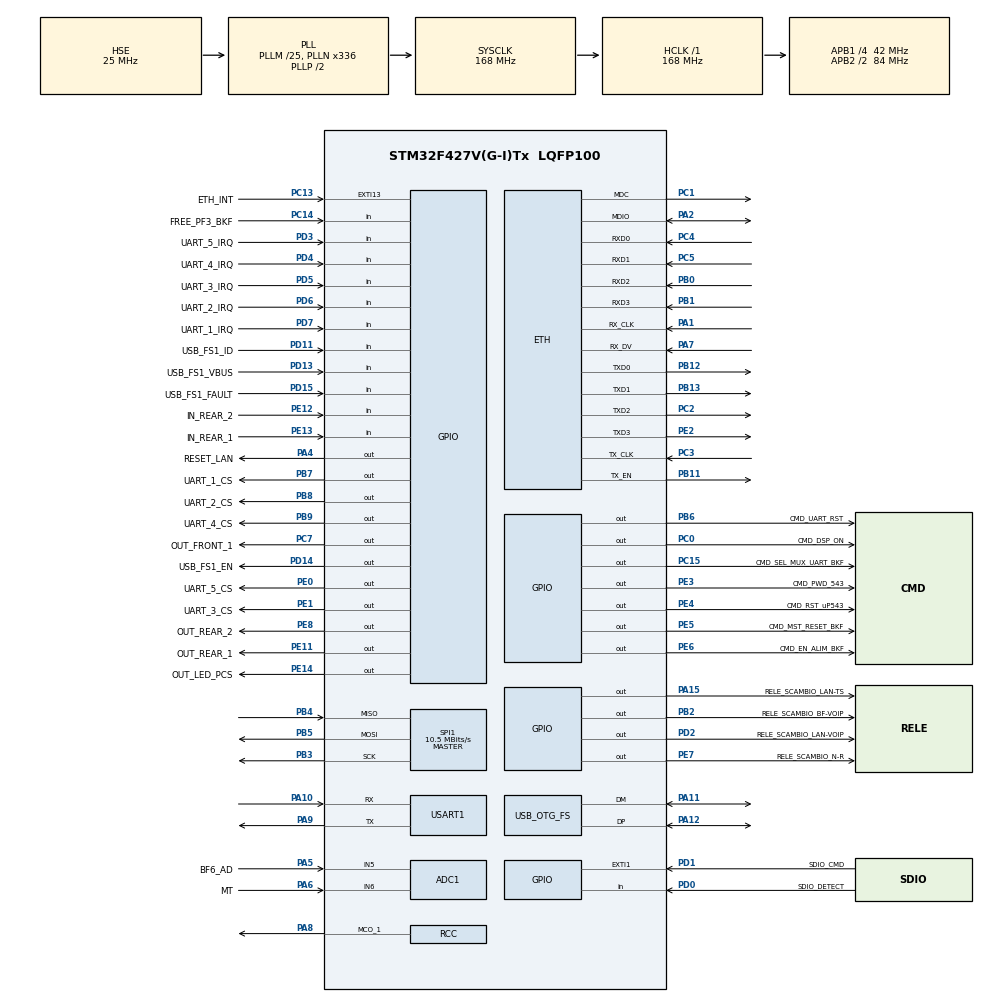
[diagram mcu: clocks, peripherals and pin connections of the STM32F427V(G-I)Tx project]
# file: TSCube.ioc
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ADC1.Channel-0\#ChannelRegularConversion=ADC_CHANNEL_5
ADC1.NbrOfConversionFlag=1
ADC1.Rank-0\#ChannelRegularConversion=1
ADC1.SamplingTime-0\#ChannelRegularConversion=ADC_SAMPLETIME_3CYCLES
ADC1.master=1
ETH.MediaInterface=HAL_ETH_MII_MODE
FREERTOS.Tasks01=defaultTask,24,128,StartDefaultTask,Default,NULL,Dynamic,NULL,NULL
IWDG.Prescaler=IWDG_PRESCALER_128
Mcu.Family=STM32F4
Mcu.Name=STM32F427V(G-I)Tx
Mcu.Package=LQFP100
NVIC.EXTI15_10_IRQn=true\:6\:0\:true\:false\:true\:true\:true\:true\:true
NVIC.HASH_RNG_IRQn=true\:5\:0\:false\:false\:true\:true\:true\:true\:true
NVIC.OTG_FS_IRQn=true\:5\:0\:false\:false\:true\:true\:false\:true\:true
NVIC.PriorityGroup=NVIC_PRIORITYGROUP_4
NVIC.TIM2_IRQn=true\:15\:0\:false\:false\:true\:false\:false\:true\:true
NVIC.TimeBase=TIM2_IRQn
NVIC.TimeBaseIP=TIM2
NVIC.USART1_IRQn=true\:5\:0\:true\:false\:true\:true\:true\:true\:true
PA0/WKUP.Signal=ETH_CRS
PA1.Mode=MII Full Duplex Only
PA1.Signal=ETH_RX_CLK
PA10.Mode=Asynchronous
PA10.Signal=USART1_RX
PA11.Mode=Device_Only
PA11.Signal=USB_OTG_FS_DM
PA12.Mode=Device_Only
PA12.Signal=USB_OTG_FS_DP
PA13.Mode=Serial_Wire
PA13.Signal=SYS_JTMS-SWDIO
PA14.Mode=Serial_Wire
PA14.Signal=SYS_JTCK-SWCLK
PA15.GPIO_Label=RELE_SCAMBIO_LAN-TS
PA15.Signal=GPIO_Output
PA2.Mode=MII Full Duplex Only
PA2.Signal=ETH_MDIO
PA3.Signal=ETH_COL
PA4.GPIO_Label=RESET_LAN
PA4.PinState=GPIO_PIN_SET
PA4.Signal=GPIO_Output
PA5.GPIO_Label=BF6_AD
PA5.Signal=ADCx_IN5
PA6.GPIO_Label=MT
PA6.Signal=ADCx_IN6
PA7.Mode=MII Full Duplex Only
PA7.Signal=ETH_RX_DV
PA8.Mode=Clock-out-1
PA8.Signal=RCC_MCO_1
PA9.Mode=Asynchronous
PA9.Signal=USART1_TX
PB0.Mode=MII Full Duplex Only
PB0.Signal=ETH_RXD2
PB1.Mode=MII Full Duplex Only
PB1.Signal=ETH_RXD3
PB10.Signal=ETH_RX_ER
PB11.Mode=MII Full Duplex Only
PB11.Signal=ETH_TX_EN
PB12.Mode=MII Full Duplex Only
PB12.Signal=ETH_TXD0
PB13.Mode=MII Full Duplex Only
PB13.Signal=ETH_TXD1
PB2/BOOT1.GPIO_Label=RELE_SCAMBIO_BF-VOIP
PB2/BOOT1.Signal=GPIO_Output
PB3.Mode=Full_Duplex_Master
PB3.Signal=SPI1_SCK
PB4.Mode=Full_Duplex_Master
PB4.Signal=SPI1_MISO
PB5.Mode=Full_Duplex_Master
PB5.Signal=SPI1_MOSI
PB6.GPIO_Label=CMD_UART_RST
PB6.Signal=GPIO_Output
PB7.GPIO_Label=UART_1_CS
PB7.Signal=GPIO_Output
PB8.GPIO_Label=UART_2_CS
PB8.Signal=GPIO_Output
PB9.GPIO_Label=UART_4_CS
PB9.Signal=GPIO_Output
PC0.GPIO_Label=CMD_DSP_ON
PC0.PinState=GPIO_PIN_SET
PC0.Signal=GPIO_Output
PC1.Mode=MII Full Duplex Only
PC1.Signal=ETH_MDC
PC10.Signal=SDIO_D2
PC11.Signal=SDIO_D3
PC12.Signal=SDIO_CK
PC13.GPIO_Label=ETH_INT
PC13.GPIO_ModeDefaultEXTI=GPIO_MODE_IT_FALLING
PC13.Signal=GPXTI13
PC14/OSC32_IN.GPIO_Label=FREE_PF3_BKF
PC14/OSC32_IN.Signal=GPIO_Input
PC15/OSC32_OUT.GPIO_Label=CMD_SEL_MUX_UART_BKF
PC15/OSC32_OUT.Signal=GPIO_Output
PC2.Mode=MII Full Duplex Only
PC2.Signal=ETH_TXD2
PC3.Mode=MII Full Duplex Only
PC3.Signal=ETH_TX_CLK
PC4.Mode=MII Full Duplex Only
PC4.Signal=ETH_RXD0
PC5.Mode=MII Full Duplex Only
PC5.Signal=ETH_RXD1
PC7.GPIO_Label=OUT_FRONT_1
PC7.Signal=GPIO_Output
PC8.Signal=SDIO_D0
PC9.Signal=SDIO_D1
PD0.GPIO_Label=SDIO_DETECT
PD0.Signal=GPIO_Input
PD1.GPIO_Label=SDIO_CMD
PD1.Signal=GPXTI1
PD11.GPIO_Label=USB_FS1_ID
PD11.Signal=GPIO_Input
PD13.GPIO_Label=USB_FS1_VBUS
PD13.Signal=GPIO_Input
PD14.GPIO_Label=USB_FS1_EN
PD14.GPIO_PuPd=GPIO_NOPULL
PD14.PinState=GPIO_PIN_SET
PD14.Signal=GPIO_Output
PD15.GPIO_Label=USB_FS1_FAULT
PD15.Signal=GPIO_Input
PD2.GPIO_Label=RELE_SCAMBIO_LAN-VOIP
PD2.Signal=GPIO_Output
PD3.GPIO_Label=UART_5_IRQ
PD3.Signal=GPIO_Input
PD4.GPIO_Label=UART_4_IRQ
PD4.Signal=GPIO_Input
PD5.GPIO_Label=UART_3_IRQ
PD5.Signal=GPIO_Input
PD6.GPIO_Label=UART_2_IRQ
PD6.Signal=GPIO_Input
PD7.GPIO_Label=UART_1_IRQ
PD7.Signal=GPIO_Input
PE0.GPIO_Label=UART_5_CS
PE0.Signal=GPIO_Output
PE1.GPIO_Label=UART_3_CS
PE1.Signal=GPIO_Output
PE11.GPIO_Label=OUT_REAR_1
PE11.Signal=GPIO_Output
PE12.GPIO_Label=IN_REAR_2
PE12.Signal=GPIO_Input
PE13.GPIO_Label=IN_REAR_1
PE13.Signal=GPIO_Input
PE14.GPIO_Label=OUT_LED_PCS
PE14.Signal=GPIO_Output
PE2.Mode=MII Full Duplex Only
PE2.Signal=ETH_TXD3
PE3.GPIO_Label=CMD_PWD_543
PE3.PinState=GPIO_PIN_SET
PE3.Signal=GPIO_Output
PE4.GPIO_Label=CMD_RST_uP543
PE4.Signal=GPIO_Output
PE5.GPIO_Label=CMD_MST_RESET_BKF
PE5.Signal=GPIO_Output
PE6.GPIO_Label=CMD_EN_ALIM_BKF
PE6.PinState=GPIO_PIN_SET
PE6.Signal=GPIO_Output
PE7.GPIO_Label=RELE_SCAMBIO_N-R
PE7.Signal=GPIO_Output
PE8.GPIO_Label=OUT_REAR_2
PE8.Signal=GPIO_Output
PH0/OSC_IN.Mode=HSE-External-Oscillator
PH0/OSC_IN.Signal=RCC_OSC_IN
PH1/OSC_OUT.Mode=HSE-External-Oscillator
PH1/OSC_OUT.Signal=RCC_OSC_OUT
ProjectManager.HeapSize=0x200
ProjectManager.StackSize=0x400
ProjectManager.TargetToolchain=Makefile
RCC.48MHZClocksFreq_Value=48000000
RCC.AHBFreq_Value=168000000
RCC.APB1CLKDivider=RCC_HCLK_DIV4
RCC.APB1Freq_Value=42000000
RCC.APB1TimFreq_Value=84000000
RCC.APB2CLKDivider=RCC_HCLK_DIV2
RCC.APB2Freq_Value=84000000
RCC.APB2TimFreq_Value=168000000
RCC.CortexFreq_Value=168000000
RCC.HCLKFreq_Value=168000000
RCC.HSE_VALUE=25000000
RCC.HSI_VALUE=16000000
RCC.LSE_VALUE=32768
RCC.PLLM=25
RCC.PLLN=336
RCC.PLLQ=7
RCC.RCC_MCO1Source=RCC_MCO1SOURCE_HSE
RCC.SYSCLKFreq_VALUE=168000000
RCC.SYSCLKSource=RCC_SYSCLKSOURCE_PLLCLK
RCC.VCOOutputFreq_Value=336000000
SH.ADCx_IN5.0=ADC1_IN5,IN5
SH.ADCx_IN6.0=ADC1_IN6,IN6
SPI1.BaudRatePrescaler=SPI_BAUDRATEPRESCALER_8
SPI1.CalculateBaudRate=10.5 MBits/s
SPI1.Direction=SPI_DIRECTION_2LINES
SPI1.Mode=SPI_MODE_MASTER
SPI1.VirtualType=VM_MASTER
USART1.VirtualMode=VM_ASYNC
USB_DEVICE.CLASS_NAME_FS=CDC
USB_DEVICE.USBD_SELF_POWERED-CDC_FS=0
USB_DEVICE.VirtualMode-CDC_FS=Cdc
USB_DEVICE.VirtualModeFS=Cdc_FS
USB_OTG_FS.VirtualMode=Device_Only
VP_CRC_VS_CRC.Mode=CRC_Activate
VP_FREERTOS_VS_CMSIS_V2.Mode=CMSIS_V2
VP_IWDG_VS_IWDG.Mode=IWDG_Activate
VP_RNG_VS_RNG.Mode=RNG_Activate
VP_SYS_VS_tim2.Mode=TIM2
VP_USB_DEVICE_VS_USB_DEVICE_CDC_FS.Mode=CDC_FS
board=custom

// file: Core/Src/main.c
/* USER CODE BEGIN Header */
/**
  ******************************************************************************
  * @file           : main.c
  * @brief          : Main program body
  ******************************************************************************
  * @attention
  *
  * Copyright (c) 2023 STMicroelectronics.
  * All rights reserved.
  *
  * This software is licensed under terms that can be found in the LICENSE file
  * in the root directory of this software component.
  * If no LICENSE file comes with this software, it is provided AS-IS.
  *
  ******************************************************************************
  */
/* USER CODE END Header */
#include "main.h"
#include "string.h"
#include "cmsis_os2.h"
#include "usb_device.h"

/* USER CODE BEGIN Includes */
#include <string.h>
#include "common_tasks.h"
#include "appl_tasks.h"
#include "common_data.h"
#include "data.h"
#include "Protocol/SielType.h"
#include "AppCodOp.h"
#include "lan_init.h"
/* USER CODE END Includes */

/* Variabili eliminate perché non compatibili. La LAN viene inizializzata da FreeRTOS+TCP
ETH_TxPacketConfig TxConfig;
ETH_DMADescTypeDef  DMARxDscrTab[ETH_RX_DESC_CNT]; // Ethernet Rx DMA Descriptors
ETH_DMADescTypeDef  DMATxDscrTab[ETH_TX_DESC_CNT]; // Ethernet Tx DMA Descriptors
*/

ADC_HandleTypeDef hadc1;

CRC_HandleTypeDef hcrc;

ETH_HandleTypeDef heth;

IWDG_HandleTypeDef hiwdg;

RNG_HandleTypeDef hrng;

SPI_HandleTypeDef hspi1;

UART_HandleTypeDef huart1;

/* Definitions for defaultTask */
osThreadId_t defaultTaskHandle;
const osThreadAttr_t defaultTask_attributes = {
  .name = "defaultTask",
  .stack_size = 128 * 4,
  .priority = (osPriority_t) osPriorityNormal,
};

/* USER CODE BEGIN PV */
extern int lastThreadId;
extern osThreadId_t tasksIdList[30];
osMutexId_t xUartDebugMutex;

const osMutexAttr_t dbgMutexAttr = {
  "UartDebugMtx",                          // human readable mutex name
  osMutexRecursive | osMutexPrioInherit,    // attr_bits
  NULL,                                     // memory for control block
  0U                                        // size for control block
};
/* USER CODE END PV */

void SystemClock_Config(void);
static void MX_GPIO_Init(void);
static void MX_ADC1_Init(void);
static void MX_IWDG_Init(void);
static void MX_SPI1_Init(void);
static void MX_USART1_UART_Init(void);
static void MX_CRC_Init(void);
static void MX_RNG_Init(void);
void StartDefaultTask(void *argument);

/* USER CODE BEGIN PFP */
void  over_mem_check();
/* USER CODE END PFP */

int main(void)
{

  /* USER CODE BEGIN 1 */
#ifndef USA_LOADER
  over_mem_check();
#else
  __enable_irq();
#endif
  /* USER CODE END 1 */

  /* MCU Configuration--------------------------------------------------------*/

  /* Reset of all peripherals, Initializes the Flash interface and the Systick. */
  HAL_Init();

  /* Configure the system clock */
  SystemClock_Config();

  /* USER CODE BEGIN SysInit */
  setvbuf(stdout, NULL, _IONBF, 0);
  /* USER CODE END SysInit */

  /* Initialize all configured peripherals */
  MX_GPIO_Init();
  MX_ADC1_Init();
  MX_IWDG_Init();
  MX_SPI1_Init();
  MX_USART1_UART_Init();
  MX_CRC_Init();
  MX_RNG_Init();
  /* USER CODE BEGIN 2 */
  liFreeRtosIpInit();
  memset(tasksIdList, 0, sizeof(tasksIdList));
  pApplCodop = ApplCodOp;
  memset(&buf_ping_tx_0, 0, sizeof(buf_ping_tx_0));
  buf_ping_tx_0.check_word = VALID_W16;
  buf_ping_tx_0.MASTER_ver = MASTER_ver;
  if (keySWDesc.StartAddress == NULL)	while(1);		//Evitiamo di ottimizzare la variabile keySWDesc necessaria per il boot.
  /* USER CODE END 2 */

  /* Init scheduler */
  osKernelInitialize();

  /* USER CODE BEGIN RTOS_QUEUES */
  /* add queues, ... */
  xUartDebugMutex = osMutexNew(&dbgMutexAttr);
  /* USER CODE END RTOS_QUEUES */

  /* Create the thread(s) */
  /* creation of defaultTask */
  defaultTaskHandle = osThreadNew(StartDefaultTask, NULL, &defaultTask_attributes);

  /* USER CODE BEGIN RTOS_THREADS */
  tasksIdList[lastThreadId++] = defaultTaskHandle;
  startCommonTasks();
  startApplicationTasks();
  /* add threads, ... */
  /* USER CODE END RTOS_THREADS */

  /* Start scheduler */
  osKernelStart();

  /* We should never get here as control is now taken by the scheduler */

  /* Infinite loop */
  while (1)
  {

  }
}

void SystemClock_Config(void)
{
  RCC_OscInitTypeDef RCC_OscInitStruct = {0};
  RCC_ClkInitTypeDef RCC_ClkInitStruct = {0};

  /** Configure the main internal regulator output voltage
  */
  __HAL_RCC_PWR_CLK_ENABLE();
  __HAL_PWR_VOLTAGESCALING_CONFIG(PWR_REGULATOR_VOLTAGE_SCALE1);

  /** Initializes the RCC Oscillators according to the specified parameters
  * in the RCC_OscInitTypeDef structure.
  */
  RCC_OscInitStruct.OscillatorType = RCC_OSCILLATORTYPE_LSI|RCC_OSCILLATORTYPE_HSE;
  RCC_OscInitStruct.HSEState = RCC_HSE_ON;
  RCC_OscInitStruct.LSIState = RCC_LSI_ON;
  RCC_OscInitStruct.PLL.PLLState = RCC_PLL_ON;
  RCC_OscInitStruct.PLL.PLLSource = RCC_PLLSOURCE_HSE;
  RCC_OscInitStruct.PLL.PLLM = 25;
  RCC_OscInitStruct.PLL.PLLN = 336;
  RCC_OscInitStruct.PLL.PLLP = RCC_PLLP_DIV2;
  RCC_OscInitStruct.PLL.PLLQ = 7;
  if (HAL_RCC_OscConfig(&RCC_OscInitStruct) != HAL_OK)
  {
    Error_Handler();
  }

  /** Initializes the CPU, AHB and APB buses clocks
  */
  RCC_ClkInitStruct.ClockType = RCC_CLOCKTYPE_HCLK|RCC_CLOCKTYPE_SYSCLK
                              |RCC_CLOCKTYPE_PCLK1|RCC_CLOCKTYPE_PCLK2;
  RCC_ClkInitStruct.SYSCLKSource = RCC_SYSCLKSOURCE_PLLCLK;
  RCC_ClkInitStruct.AHBCLKDivider = RCC_SYSCLK_DIV1;
  RCC_ClkInitStruct.APB1CLKDivider = RCC_HCLK_DIV4;
  RCC_ClkInitStruct.APB2CLKDivider = RCC_HCLK_DIV2;

  if (HAL_RCC_ClockConfig(&RCC_ClkInitStruct, FLASH_LATENCY_5) != HAL_OK)
  {
    Error_Handler();
  }
  HAL_RCC_MCOConfig(RCC_MCO1, RCC_MCO1SOURCE_HSE, RCC_MCODIV_1);
}

static void MX_ADC1_Init(void)
{

  ADC_ChannelConfTypeDef sConfig = {0};

  /** Configure the global features of the ADC (Clock, Resolution, Data Alignment and number of conversion)
  */
  hadc1.Instance = ADC1;
  hadc1.Init.ClockPrescaler = ADC_CLOCK_SYNC_PCLK_DIV4;
  hadc1.Init.Resolution = ADC_RESOLUTION_12B;
  hadc1.Init.ScanConvMode = DISABLE;
  hadc1.Init.ContinuousConvMode = DISABLE;
  hadc1.Init.DiscontinuousConvMode = DISABLE;
  hadc1.Init.ExternalTrigConvEdge = ADC_EXTERNALTRIGCONVEDGE_NONE;
  hadc1.Init.ExternalTrigConv = ADC_SOFTWARE_START;
  hadc1.Init.DataAlign = ADC_DATAALIGN_RIGHT;
  hadc1.Init.NbrOfConversion = 1;
  hadc1.Init.DMAContinuousRequests = DISABLE;
  hadc1.Init.EOCSelection = ADC_EOC_SINGLE_CONV;
  if (HAL_ADC_Init(&hadc1) != HAL_OK)
  {
    Error_Handler();
  }

  /** Configure for the selected ADC regular channel its corresponding rank in the sequencer and its sample time.
  */
  sConfig.Channel = ADC_CHANNEL_5;
  sConfig.Rank = 1;
  sConfig.SamplingTime = ADC_SAMPLETIME_3CYCLES;
  if (HAL_ADC_ConfigChannel(&hadc1, &sConfig) != HAL_OK)
  {
    Error_Handler();
  }

}

static void MX_CRC_Init(void)
{

  hcrc.Instance = CRC;
  if (HAL_CRC_Init(&hcrc) != HAL_OK)
  {
    Error_Handler();
  }

}

static void MX_IWDG_Init(void)
{

  /* USER CODE BEGIN IWDG_Init 0 */
  #ifndef NOWATCHDOG
  /* USER CODE END IWDG_Init 0 */

  hiwdg.Instance = IWDG;
  hiwdg.Init.Prescaler = IWDG_PRESCALER_128;
  hiwdg.Init.Reload = 4095;
  if (HAL_IWDG_Init(&hiwdg) != HAL_OK)
  {
    Error_Handler();
  }
  /* USER CODE BEGIN IWDG_Init 2 */
  #endif //NOWATCHDOG
  /* USER CODE END IWDG_Init 2 */

}

static void MX_RNG_Init(void)
{

  hrng.Instance = RNG;
  if (HAL_RNG_Init(&hrng) != HAL_OK)
  {
    Error_Handler();
  }

}

static void MX_SPI1_Init(void)
{

  /* USER CODE BEGIN SPI1_Init 0 */
  uint8_t				dati_tx[1];
  uint8_t				dati_rx[1];
  /* USER CODE END SPI1_Init 0 */

  /* SPI1 parameter configuration*/
  hspi1.Instance = SPI1;
  hspi1.Init.Mode = SPI_MODE_MASTER;
  hspi1.Init.Direction = SPI_DIRECTION_2LINES;
  hspi1.Init.DataSize = SPI_DATASIZE_8BIT;
  hspi1.Init.CLKPolarity = SPI_POLARITY_LOW;
  hspi1.Init.CLKPhase = SPI_PHASE_1EDGE;
  hspi1.Init.NSS = SPI_NSS_SOFT;
  hspi1.Init.BaudRatePrescaler = SPI_BAUDRATEPRESCALER_8;
  hspi1.Init.FirstBit = SPI_FIRSTBIT_MSB;
  hspi1.Init.TIMode = SPI_TIMODE_DISABLE;
  hspi1.Init.CRCCalculation = SPI_CRCCALCULATION_DISABLE;
  hspi1.Init.CRCPolynomial = 10;
  if (HAL_SPI_Init(&hspi1) != HAL_OK)
  {
    Error_Handler();
  }
  /* USER CODE BEGIN SPI1_Init 2 */
  //Spediamo un 0xFF sull'SPI e segnaliamo di voler resettare i chip SPI_UART
  dati_tx[0] = 0xFF;
	HAL_SPI_TransmitReceive(&hspi1, dati_tx, &dati_rx[0], 1, 2);
  //masterCmd.bit.rst_spi_com = 1;
  /* USER CODE END SPI1_Init 2 */

}

static void MX_USART1_UART_Init(void)
{

  huart1.Instance = USART1;
  huart1.Init.BaudRate = 115200;
  huart1.Init.WordLength = UART_WORDLENGTH_8B;
  huart1.Init.StopBits = UART_STOPBITS_1;
  huart1.Init.Parity = UART_PARITY_NONE;
  huart1.Init.Mode = UART_MODE_TX_RX;
  huart1.Init.HwFlowCtl = UART_HWCONTROL_NONE;
  huart1.Init.OverSampling = UART_OVERSAMPLING_16;
  if (HAL_UART_Init(&huart1) != HAL_OK)
  {
    Error_Handler();
  }

}

static void MX_GPIO_Init(void)
{
  GPIO_InitTypeDef GPIO_InitStruct = {0};

  /* GPIO Ports Clock Enable */
  __HAL_RCC_GPIOE_CLK_ENABLE();
  __HAL_RCC_GPIOC_CLK_ENABLE();
  __HAL_RCC_GPIOH_CLK_ENABLE();
  __HAL_RCC_GPIOA_CLK_ENABLE();
  __HAL_RCC_GPIOB_CLK_ENABLE();
  __HAL_RCC_GPIOD_CLK_ENABLE();

  /*Configure GPIO pin Output Level */
  HAL_GPIO_WritePin(GPIOE, CMD_PWD_543_Pin|CMD_EN_ALIM_BKF_Pin, GPIO_PIN_SET);

  /*Configure GPIO pin Output Level */
  HAL_GPIO_WritePin(GPIOE, CMD_RST_uP543_Pin|CMD_MST_RESET_BKF_Pin|RELE_SCAMBIO_N_R_Pin|OUT_REAR_2_Pin
                          |OUT_REAR_1_Pin|OUT_LED_PCS_Pin|UART_5_CS_Pin|UART_3_CS_Pin, GPIO_PIN_RESET);

  /*Configure GPIO pin Output Level */
  HAL_GPIO_WritePin(GPIOC, CMD_SEL_MUX_UART_BKF_Pin|OUT_FRONT_1_Pin, GPIO_PIN_RESET);

  /*Configure GPIO pin Output Level */
  HAL_GPIO_WritePin(CMD_DSP_ON_GPIO_Port, CMD_DSP_ON_Pin, GPIO_PIN_SET);

  /*Configure GPIO pin Output Level */
  HAL_GPIO_WritePin(RESET_LAN_GPIO_Port, RESET_LAN_Pin, GPIO_PIN_SET);

  /*Configure GPIO pin Output Level */
  HAL_GPIO_WritePin(GPIOB, RELE_SCAMBIO_BF_VOIP_Pin|CMD_UART_RST_Pin|UART_1_CS_Pin|UART_2_CS_Pin
                          |UART_4_CS_Pin, GPIO_PIN_RESET);

  /*Configure GPIO pin Output Level */
  HAL_GPIO_WritePin(USB_FS1_EN_GPIO_Port, USB_FS1_EN_Pin, GPIO_PIN_SET);

  /*Configure GPIO pin Output Level */
  HAL_GPIO_WritePin(RELE_SCAMBIO_LAN_TS_GPIO_Port, RELE_SCAMBIO_LAN_TS_Pin, GPIO_PIN_RESET);

  /*Configure GPIO pin Output Level */
  HAL_GPIO_WritePin(RELE_SCAMBIO_LAN_VOIP_GPIO_Port, RELE_SCAMBIO_LAN_VOIP_Pin, GPIO_PIN_RESET);

  /*Configure GPIO pins : CMD_PWD_543_Pin CMD_RST_uP543_Pin CMD_MST_RESET_BKF_Pin CMD_EN_ALIM_BKF_Pin
                           RELE_SCAMBIO_N_R_Pin OUT_REAR_2_Pin OUT_REAR_1_Pin OUT_LED_PCS_Pin
                           UART_5_CS_Pin UART_3_CS_Pin */
  GPIO_InitStruct.Pin = CMD_PWD_543_Pin|CMD_RST_uP543_Pin|CMD_MST_RESET_BKF_Pin|CMD_EN_ALIM_BKF_Pin
                          |RELE_SCAMBIO_N_R_Pin|OUT_REAR_2_Pin|OUT_REAR_1_Pin|OUT_LED_PCS_Pin
                          |UART_5_CS_Pin|UART_3_CS_Pin;
  GPIO_InitStruct.Mode = GPIO_MODE_OUTPUT_PP;
  GPIO_InitStruct.Pull = GPIO_NOPULL;
  GPIO_InitStruct.Speed = GPIO_SPEED_FREQ_LOW;
  HAL_GPIO_Init(GPIOE, &GPIO_InitStruct);

  /*Configure GPIO pin : ETH_INT_Pin */
  GPIO_InitStruct.Pin = ETH_INT_Pin;
  GPIO_InitStruct.Mode = GPIO_MODE_IT_FALLING;
  GPIO_InitStruct.Pull = GPIO_NOPULL;
  HAL_GPIO_Init(ETH_INT_GPIO_Port, &GPIO_InitStruct);

  /*Configure GPIO pin : FREE_PF3_BKF_Pin */
  GPIO_InitStruct.Pin = FREE_PF3_BKF_Pin;
  GPIO_InitStruct.Mode = GPIO_MODE_INPUT;
  GPIO_InitStruct.Pull = GPIO_NOPULL;
  HAL_GPIO_Init(FREE_PF3_BKF_GPIO_Port, &GPIO_InitStruct);

  /*Configure GPIO pins : CMD_SEL_MUX_UART_BKF_Pin CMD_DSP_ON_Pin OUT_FRONT_1_Pin */
  GPIO_InitStruct.Pin = CMD_SEL_MUX_UART_BKF_Pin|CMD_DSP_ON_Pin|OUT_FRONT_1_Pin;
  GPIO_InitStruct.Mode = GPIO_MODE_OUTPUT_PP;
  GPIO_InitStruct.Pull = GPIO_NOPULL;
  GPIO_InitStruct.Speed = GPIO_SPEED_FREQ_LOW;
  HAL_GPIO_Init(GPIOC, &GPIO_InitStruct);

  /*Configure GPIO pins : RESET_LAN_Pin RELE_SCAMBIO_LAN_TS_Pin */
  GPIO_InitStruct.Pin = RESET_LAN_Pin|RELE_SCAMBIO_LAN_TS_Pin;
  GPIO_InitStruct.Mode = GPIO_MODE_OUTPUT_PP;
  GPIO_InitStruct.Pull = GPIO_NOPULL;
  GPIO_InitStruct.Speed = GPIO_SPEED_FREQ_LOW;
  HAL_GPIO_Init(GPIOA, &GPIO_InitStruct);

  /*Configure GPIO pins : RELE_SCAMBIO_BF_VOIP_Pin CMD_UART_RST_Pin UART_1_CS_Pin UART_2_CS_Pin
                           UART_4_CS_Pin */
  GPIO_InitStruct.Pin = RELE_SCAMBIO_BF_VOIP_Pin|CMD_UART_RST_Pin|UART_1_CS_Pin|UART_2_CS_Pin
                          |UART_4_CS_Pin;
  GPIO_InitStruct.Mode = GPIO_MODE_OUTPUT_PP;
  GPIO_InitStruct.Pull = GPIO_NOPULL;
  GPIO_InitStruct.Speed = GPIO_SPEED_FREQ_LOW;
  HAL_GPIO_Init(GPIOB, &GPIO_InitStruct);

  /*Configure GPIO pins : IN_REAR_2_Pin IN_REAR_1_Pin */
  GPIO_InitStruct.Pin = IN_REAR_2_Pin|IN_REAR_1_Pin;
  GPIO_InitStruct.Mode = GPIO_MODE_INPUT;
  GPIO_InitStruct.Pull = GPIO_NOPULL;
  HAL_GPIO_Init(GPIOE, &GPIO_InitStruct);

  /*Configure GPIO pins : USB_FS1_ID_Pin USB_FS1_VBUS_Pin USB_FS1_FAULT_Pin SDIO_DETECT_Pin
                           UART_5_IRQ_Pin UART_4_IRQ_Pin UART_3_IRQ_Pin UART_2_IRQ_Pin
                           UART_1_IRQ_Pin */
  GPIO_InitStruct.Pin = USB_FS1_ID_Pin|USB_FS1_VBUS_Pin|USB_FS1_FAULT_Pin|SDIO_DETECT_Pin
                          |UART_5_IRQ_Pin|UART_4_IRQ_Pin|UART_3_IRQ_Pin|UART_2_IRQ_Pin
                          |UART_1_IRQ_Pin;
  GPIO_InitStruct.Mode = GPIO_MODE_INPUT;
  GPIO_InitStruct.Pull = GPIO_NOPULL;
  HAL_GPIO_Init(GPIOD, &GPIO_InitStruct);

  /*Configure GPIO pins : USB_FS1_EN_Pin RELE_SCAMBIO_LAN_VOIP_Pin */
  GPIO_InitStruct.Pin = USB_FS1_EN_Pin|RELE_SCAMBIO_LAN_VOIP_Pin;
  GPIO_InitStruct.Mode = GPIO_MODE_OUTPUT_PP;
  GPIO_InitStruct.Pull = GPIO_NOPULL;
  GPIO_InitStruct.Speed = GPIO_SPEED_FREQ_LOW;
  HAL_GPIO_Init(GPIOD, &GPIO_InitStruct);

  /*Configure GPIO pins : PC8 PC9 PC10 PC11
                           PC12 */
  GPIO_InitStruct.Pin = GPIO_PIN_8|GPIO_PIN_9|GPIO_PIN_10|GPIO_PIN_11
                          |GPIO_PIN_12;
  GPIO_InitStruct.Mode = GPIO_MODE_AF_PP;
  GPIO_InitStruct.Pull = GPIO_NOPULL;
  GPIO_InitStruct.Speed = GPIO_SPEED_FREQ_VERY_HIGH;
  GPIO_InitStruct.Alternate = GPIO_AF12_SDIO;
  HAL_GPIO_Init(GPIOC, &GPIO_InitStruct);

  /*Configure GPIO pin : PA8 */
  GPIO_InitStruct.Pin = GPIO_PIN_8;
  GPIO_InitStruct.Mode = GPIO_MODE_AF_PP;
  GPIO_InitStruct.Pull = GPIO_NOPULL;
  GPIO_InitStruct.Speed = GPIO_SPEED_FREQ_LOW;
  GPIO_InitStruct.Alternate = GPIO_AF0_MCO;
  HAL_GPIO_Init(GPIOA, &GPIO_InitStruct);

  /*Configure GPIO pin : SDIO_CMD_Pin */
  GPIO_InitStruct.Pin = SDIO_CMD_Pin;
  GPIO_InitStruct.Mode = GPIO_MODE_IT_RISING;
  GPIO_InitStruct.Pull = GPIO_NOPULL;
  HAL_GPIO_Init(SDIO_CMD_GPIO_Port, &GPIO_InitStruct);

  /* EXTI interrupt init*/
  HAL_NVIC_SetPriority(EXTI15_10_IRQn, 6, 0);
  HAL_NVIC_EnableIRQ(EXTI15_10_IRQn);

}

/* USER CODE BEGIN 4 */
void	over_mem_check()
{
	/*
	if(over_mem.check_word != VALID_W16)
	{
		memset(&over_mem, 0, sizeof(over_mem));
		over_mem.check_word = VALID_W16;
	}
	over_mem.reset_counter++;
  over_mem.rcc_csr = (RCC->CSR >> 23) & 0x01FF;
  //Reset del registro
  RCC->CSR |= 0x10000;
  */
}
/* USER CODE END 4 */

void StartDefaultTask(void *argument)
{
  /* init code for USB_DEVICE */
  MX_USB_DEVICE_Init();
  for(;;)
  {
    osDelay(1);
  }
}

void HAL_TIM_PeriodElapsedCallback(TIM_HandleTypeDef *htim)
{
  if (htim->Instance == TIM2)
  {
    HAL_IncTick();
  }
}

void Error_Handler(void)
{
  __disable_irq();
  while (1)
  {
  }
}

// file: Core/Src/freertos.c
/* USER CODE BEGIN Header */
/**
  ******************************************************************************
  * File Name          : freertos.c
  * Description        : Code for freertos applications
  ******************************************************************************
  * @attention
  *
  * Copyright (c) 2026 STMicroelectronics.
  * All rights reserved.
  *
  * This software is licensed under terms that can be found in the LICENSE file
  * in the root directory of this software component.
  * If no LICENSE file comes with this software, it is provided AS-IS.
  *
  ******************************************************************************
  */
/* USER CODE END Header */

#include "FreeRTOS.h"
#include "task.h"
#include "main.h"

/* USER CODE BEGIN Includes */
#include "cmsis_os2.h"
#include <stdio.h>
#include <stdarg.h>
/* USER CODE END Includes */

/* USER CODE BEGIN Variables */
extern UART_HandleTypeDef huart1;
extern osMutexId_t xUartDebugMutex;

/* USER CODE END Variables */

/* USER CODE BEGIN Application */
#ifdef UART_DEBUG
int _write(int file, char *ptr, int len)
{
	(void)file;
	if (xUartDebugMutex != NULL && osMutexAcquire(xUartDebugMutex, osWaitForever) == osOK)
	{
		HAL_UART_Transmit(&huart1, (uint8_t *)ptr, len, 1000);
		osMutexRelease(xUartDebugMutex);
	}
	return len;
}
#endif

void vApplicationStackOverflowHook( TaskHandle_t xTask, char *pcTaskName )
{
  /* Run time stack overflow checking is performed if
  configCHECK_FOR_STACK_OVERFLOW is defined to 1 or 2.  This hook
  function is called if a stack overflow is detected. */
  (void)xTask;

  printf("FATAL: Stack overflow in task %s\r\n", pcTaskName);
  /* Force an assert. */
  //configASSERT(0);
}
/* USER CODE END Application */
